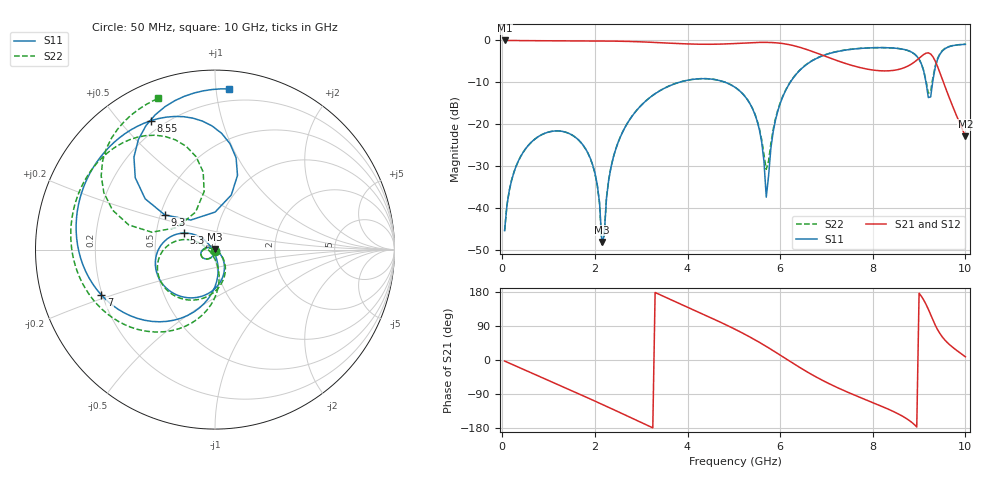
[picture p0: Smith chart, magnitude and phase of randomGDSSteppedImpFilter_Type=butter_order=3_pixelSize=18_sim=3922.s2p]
! freq	dB(S11)	phase(S11)	dB(S12)	phase(S12)
!  dB(S21)	phase(S21)	dB(S22)	phase(S22)
!S-par simulation data
#  GHz  S  DB  R 50
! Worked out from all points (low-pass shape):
!   200 points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, 50 MHz to 10 GHz, reference 50 ohm
!   highest |S21| = 0.00 dB at 50 MHz (marker M1); lowest = -22.8 dB at 10 GHz (marker M2)
!   |S21| within 3 dB of the highest: start of sweep to 6.789 GHz; 9.16713 GHz to 9.209783 GHz (42.65 MHz wide, 0.464 % of centre)
!   lowest |S11| = -48.0 dB at 2.15 GHz (marker M3), VSWR 1.01, Z = 49.8 + j0.312 ohm
!   |S11| at or under -10 dB: start of sweep to 3.81 GHz; 4.82 GHz to 6.217 GHz (1.397 GHz wide, 25.3 % of centre); 9.15 GHz to 9.292 GHz (141.9 MHz wide, 1.54 % of centre)
!   |S22| runs from -49.0 to -0.9 dB; largest |S21 - S12| = 0
!   S11 on the Smith chart (normalised r, x): 50 MHz: 1.00, -0.01; 5.3 GHz: 0.70, +0.13; 7 GHz: 0.20, -0.18; 8.55 GHz: 0.15, +0.61; 9.3 GHz: 0.53, +0.23; 10 GHz: 0.12, +1.08
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0.05  -45.28 -91.9  -0.00 -2.8  -0.00 -2.8  -45.28 -91.8
0.25  -31.41 -103.5  -0.03 -13.6  -0.03 -13.6  -31.41 -103.2
0.6  -24.52 -123.1  -0.05 -32.5  -0.05 -32.5  -24.52 -122.2
1.75  -25.00 172.5  -0.12 -94.6  -0.12 -94.6  -25.03 176.0
2.05  -34.29 153.3  -0.13 -111.2  -0.13 -111.2  -34.40 160.4
2.15  -47.98 128.2  -0.14 -116.7  -0.14 -116.7  -48.97 163.0
2.3  -33.08 -34.2  -0.15 -125.1  -0.15 -125.1  -32.99 -35.6
2.5  -24.31 -47.6  -0.18 -136.4  -0.18 -136.4  -24.27 -46.0
3.4  -11.99 -100.0  -0.53 172.5  -0.53 172.5  -11.97 -95.5
5.05  -11.35 166.9  -0.72 79.7  -0.72 79.7  -11.32 176.8
5.3  -14.22 151.7  -0.58 63.8  -0.58 63.8  -14.18 163.8
5.55  -21.17 138.4  -0.47 46.7  -0.47 46.7  -20.90 157.2
5.7  -37.30 179.5  -0.46 35.8  -0.46 35.8  -30.68 -153.1
6  -15.04 -86.9  -0.66 13.0  -0.66 13.0  -14.86 -82.9
6.7  -4.78 -138.3  -2.64 -39.6  -2.64 -39.6  -4.73 -127.8
7  -3.32 -158.3  -3.88 -59.0  -3.88 -59.0  -3.29 -146.3
8.35  -1.75 127.7  -7.23 -130.5  -7.23 -130.5  -1.74 146.5
8.55  -1.92 116.4  -6.92 -142.2  -6.92 -142.2  -1.92 136.3
9.1  -7.29 73.1  -3.35 158.3  -3.35 158.3  -7.18 98.7
9.3  -9.38 145.4  -3.90 105.2  -3.90 105.2  -8.75 164.6
9.5  -2.53 124.9  -9.18 61.2  -9.18 61.2  -2.43 147.0
10  -0.93 85.2  -22.82 8.5  -22.82 8.5  -0.91 110.6
